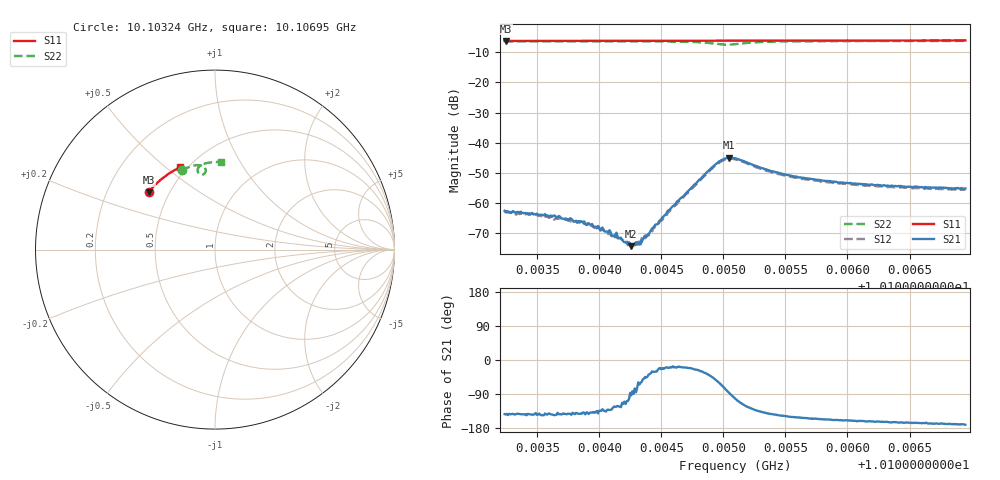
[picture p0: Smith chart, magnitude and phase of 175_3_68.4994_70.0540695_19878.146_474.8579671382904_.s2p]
#  HZ  S  RI  R  50.00
! Rohde & Schwarz Vector Network Analyzer
! Rohde-Schwarz,ZNB20-2Port,1311601062101988,3.16
! Created: UTC 3/20/2024, 5:11:36 PM
! freq[Hz]  re:S11  im:S11  re:S21  im:S21  re:S12  im:S12  re:S22  im:S22
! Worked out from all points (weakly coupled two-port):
!   401 points, 10.10324 GHz to 10.10695 GHz, reference 50 ohm
!   highest |S21| = -44.99 dB at 10.10505 GHz (marker M1); lowest = -74.3 dB at 10.10426 GHz (marker M2)
!   lowest |S11| = -6.2 dB at 10.10324 GHz (marker M3), VSWR 2.91, Z = 19.3 + j16.2 ohm
!   |S11| at or under -10 dB: nowhere
!   |S22| runs from -7.5 to -6.2 dB; largest |S21 - S12| = 0.00059
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1.0103235e10  -0.3694 0.3199  -0.000591 -0.000449  -0.00052 -0.000485  -0.186 0.4434
1.0103244e10  -0.3689 0.3203  -0.000588 -0.00043  -0.000505 -0.000482  -0.1854 0.4437
1.0103625e10  -0.3541 0.3384  -0.000499 -0.000356  -0.000406 -0.000383  -0.1616 0.4537
1.0103857e10  -0.3448 0.3488  -0.000389 -0.000306  -0.000347 -0.000327  -0.1465 0.4593
1.0104071e10  -0.3358 0.3582  -0.000214 -0.000243  -0.000154 -0.000264  -0.1316 0.464
1.0104108e10  -0.3343 0.3598  -0.000167 -0.000233  -0.000156 -0.00023  -0.1291 0.4647
1.0104155e10  -0.3322 0.3618  -0.000137 -0.000218  -0.000115 -0.00024  -0.1257 0.4658
1.010421e10  -0.3299 0.3642  -9.64e-05 -0.000198  -2.47e-05 -0.000244  -0.1216 0.4666
1.0104257e10  -0.3279 0.3661  -1.07e-05 -0.000192  3.65e-06 -0.000202  -0.118 0.4676
1.0104313e10  -0.3254 0.3686  0.00011 -0.000182  8.24e-05 -0.000213  -0.1137 0.4685
1.0104331e10  -0.3245 0.3694  0.000117 -0.000203  9.47e-05 -0.000175  -0.112 0.4688
1.0104406e10  -0.3213 0.3725  0.000259 -0.000195  0.000263 -0.000172  -0.1058 0.4697
1.010448e10  -0.318 0.3756  0.000457 -0.000186  0.000425 -0.000171  -0.0993 0.4704
1.0104563e10  -0.3141 0.3789  0.000721 -0.000267  0.000693 -0.000176  -0.0912 0.4707
1.0104907e10  -0.2983 0.3923  0.00275 -0.00274  0.00285 -0.00235  -0.052 0.4434
1.0104981e10  -0.2949 0.395  0.00213 -0.00467  0.00245 -0.00423  -0.0585 0.4241
1.0105046e10  -0.292 0.3975  0.000286 -0.00562  0.000771 -0.00536  -0.0772 0.4178
1.0105093e10  -0.2898 0.3992  -0.00112 -0.00543  -0.000561 -0.00528  -0.0895 0.4234
1.0105381e10  -0.2762 0.41  -0.00268 -0.00207  -0.00243 -0.00223  -0.0826 0.4674
1.0105715e10  -0.2595 0.4217  -0.00226 -0.00103  -0.00204 -0.00119  -0.054 0.4802
1.0106338e10  -0.2273 0.4416  -0.00183 -0.000529  -0.00171 -0.000681  -0.009 0.4874
1.0106951e10  -0.1944 0.4585  -0.00172 -0.000275  -0.00159 -0.000446  0.0321 0.4885
